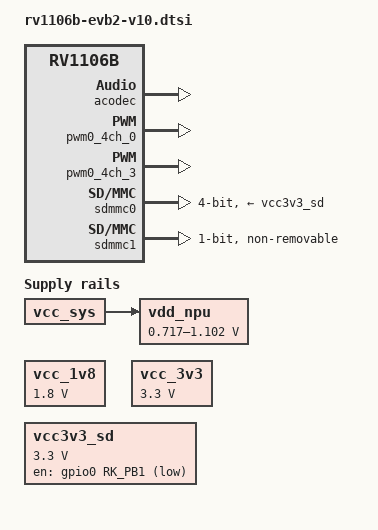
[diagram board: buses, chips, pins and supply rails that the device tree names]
// SPDX-License-Identifier: (GPL-2.0+ OR MIT)
/*
 * Copyright (c) 2026 Rockchip Electronics Co., Ltd.
 */

#include "rv1106b-evb.dtsi"

/ {
	vcc_1v8: vcc-1v8 {
		compatible = "regulator-fixed";
		regulator-name = "vcc_1v8";
		regulator-always-on;
		regulator-boot-on;
		regulator-min-microvolt = <1800000>;
		regulator-max-microvolt = <1800000>;
	};

	vcc_3v3: vcc-3v3 {
		compatible = "regulator-fixed";
		regulator-name = "vcc_3v3";
		regulator-always-on;
		regulator-boot-on;
		regulator-min-microvolt = <3300000>;
		regulator-max-microvolt = <3300000>;
	};

	vcc3v3_sd: vcc3v3-sd {
		compatible = "regulator-fixed";
		gpio = <&gpio0 RK_PB1 GPIO_ACTIVE_LOW>;
		regulator-name = "vcc3v3_sd";
		regulator-min-microvolt = <3300000>;
		regulator-max-microvolt = <3300000>;
		pinctrl-names = "default";
		pinctrl-0 = <&sdmmc_pwren>;
	};

	vdd_npu: vdd_arm: vdd-arm {
		compatible = "pwm-regulator";
		pwms = <&pwm0_4ch_0 0 5000 1>;
		regulator-name = "vdd_arm";
		regulator-min-microvolt = <717000>;
		regulator-max-microvolt = <1102000>;
		regulator-init-microvolt = <950000>;
		regulator-always-on;
		regulator-boot-on;
		regulator-settling-time-up-us = <250>;
		pwm-supply = <&vcc_sys>;
	};

	vdd_logic: vdd-logic {
		compatible = "pwm-regulator";
		pwms = <&pwm0_4ch_3 0 5000 1>;
		regulator-name = "vdd_logic";
		regulator-min-microvolt = <810000>;
		regulator-max-microvolt = <1006000>;
		regulator-init-microvolt = <900000>;
		regulator-always-on;
		regulator-boot-on;
		regulator-settling-time-up-us = <250>;
		pwm-supply = <&vcc_sys>;
		status = "disabled";
	};
};

&acodec {
	#sound-dai-cells = <0>;
	pa-ctl-gpios = <&gpio0 RK_PB4 GPIO_ACTIVE_HIGH>;
	status = "okay";
};

&cpu0 {
	cpu-supply = <&vdd_arm>;
};

&npu {
	rknpu-supply = <&vdd_npu>;
};

&pinctrl {
	sdmmc {
		/omit-if-no-ref/
		sdmmc_pwren: sdmmc-pwren {
			rockchip,pins = <0 RK_PB1 RK_FUNC_GPIO &pcfg_pull_none>;
		};
	};
};

&pwm0_4ch_0 {
	status = "okay";
};

&pwm0_4ch_3 {
	pinctrl-0 = <&pwm0m1_ch3_pins>;
	status = "okay";
};

&sdmmc0 {
	bus-width = <4>;
	cap-mmc-highspeed;
	cap-sd-highspeed;
	disable-wp;
	no-sdio;
	no-mmc;
	vmmc-supply = <&vcc3v3_sd>;
	status = "okay";
};

&sdmmc1 {
	bus-width = <1>;
	cap-sd-highspeed;
	cap-sdio-irq;
	keep-power-in-suspend;
	non-removable;
	no-sd;
	no-mmc;
	pinctrl-names = "default";
	pinctrl-0 = <&sdmmc1_clk_pins &sdmmc1_cmd_pins &sdmmc1_bus1_pins>;
	status = "okay";
};
